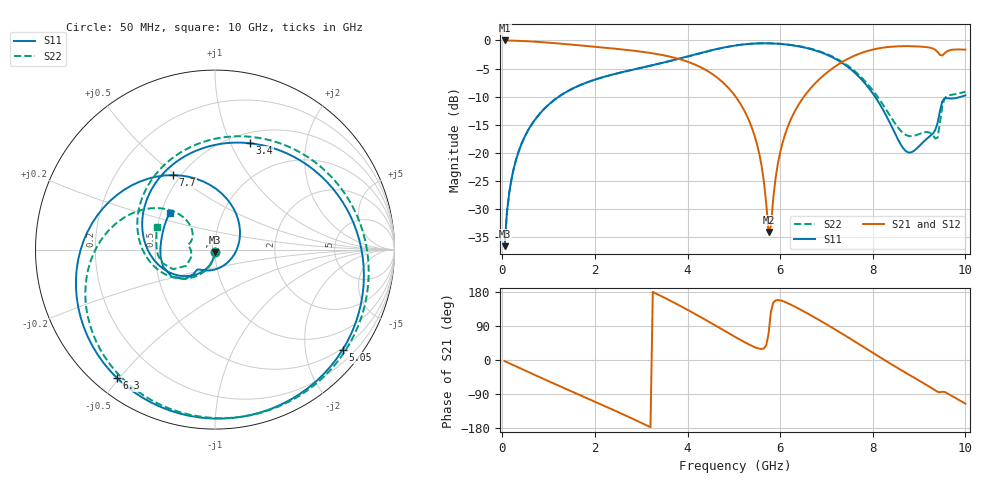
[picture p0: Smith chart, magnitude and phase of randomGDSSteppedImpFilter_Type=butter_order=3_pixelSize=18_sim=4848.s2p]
! freq	dB(S11)	phase(S11)	dB(S12)	phase(S12)
!  dB(S21)	phase(S21)	dB(S22)	phase(S22)
!S-par simulation data
#  GHz  S  DB  R 50
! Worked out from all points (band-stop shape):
!   200 points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, 50 MHz to 10 GHz, reference 50 ohm
!   highest |S21| = 0.00 dB at 50 MHz (marker M1); lowest = -34.1 dB at 5.75 GHz (marker M2)
!   |S21| within 3 dB of the highest: start of sweep to 3.678 GHz; 7.53 GHz to end of sweep
!   lowest |S11| = -36.6 dB at 50 MHz (marker M3), VSWR 1.03, Z = 49.9 - j1.47 ohm
!   |S11| at or under -10 dB: start of sweep to 1.223 GHz; 8.048 GHz to 9.918 GHz (1.87 GHz wide, 20.8 % of centre)
!   |S22| runs from -36.6 to -0.5 dB; largest |S21 - S12| = 0
!   S11 on the Smith chart (normalised r, x): 50 MHz: 1.00, -0.03; 3.4 GHz: 0.61, +1.18; 5.05 GHz: 0.46, -2.82; 6.3 GHz: 0.07, -0.49; 7.7 GHz: 0.46, +0.49; 10 GHz: 0.56, +0.25
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0.05  -36.64 -93.1  -0.00 -2.9  -0.00 -2.9  -36.64 -92.8
0.2  -24.64 -102.2  -0.03 -11.4  -0.03 -11.4  -24.64 -101.1
0.5  -16.88 -120.3  -0.13 -28.2  -0.13 -28.2  -16.89 -117.6
1.15  -10.43 -158.0  -0.49 -64.1  -0.49 -64.1  -10.42 -151.6
1.75  -7.73 167.8  -0.93 -96.6  -0.93 -96.6  -7.72 177.5
2.65  -5.53 116.5  -1.66 -145.7  -1.66 -145.7  -5.53 130.5
3.4  -4.10 71.9  -2.52 170.6  -2.52 170.6  -4.11 87.6
4.25  -2.30 17.5  -4.64 115.5  -4.64 115.5  -2.32 31.5
5.05  -0.88 -38.2  -10.15 59.4  -10.15 59.4  -0.89 -27.3
5.5  -0.53 -70.3  -18.48 31.6  -18.48 31.6  -0.53 -60.5
5.75  -0.52 -88.1  -34.09 69.7  -34.09 69.7  -0.50 -78.4
6  -0.62 -105.9  -19.94 157.4  -19.94 157.4  -0.60 -95.8
6.3  -0.92 -127.3  -12.88 141.8  -12.88 141.8  -0.87 -116.1
6.7  -1.64 -156.7  -8.13 115.4  -8.13 115.4  -1.56 -142.6
7.15  -3.10 167.9  -4.85 83.4  -4.85 83.4  -2.95 -171.7
7.7  -6.45 119.3  -2.40 42.1  -2.40 42.1  -6.13 155.1
8.35  -14.35 44.8  -1.16 -7.4  -1.16 -7.4  -13.11 134.3
8.75  -19.90 -39.4  -1.02 -36.5  -1.02 -36.5  -16.96 152.9
9.15  -17.62 -119.0  -1.18 -65.0  -1.18 -65.0  -16.32 170.3
9.4  -14.67 -131.2  -2.05 -83.9  -2.05 -83.9  -17.32 -163.5
9.55  -10.33 -161.9  -2.30 -84.3  -2.30 -84.3  -10.36 -165.8
10  -9.78 141.2  -1.64 -115.1  -1.64 -115.1  -9.15 158.7
